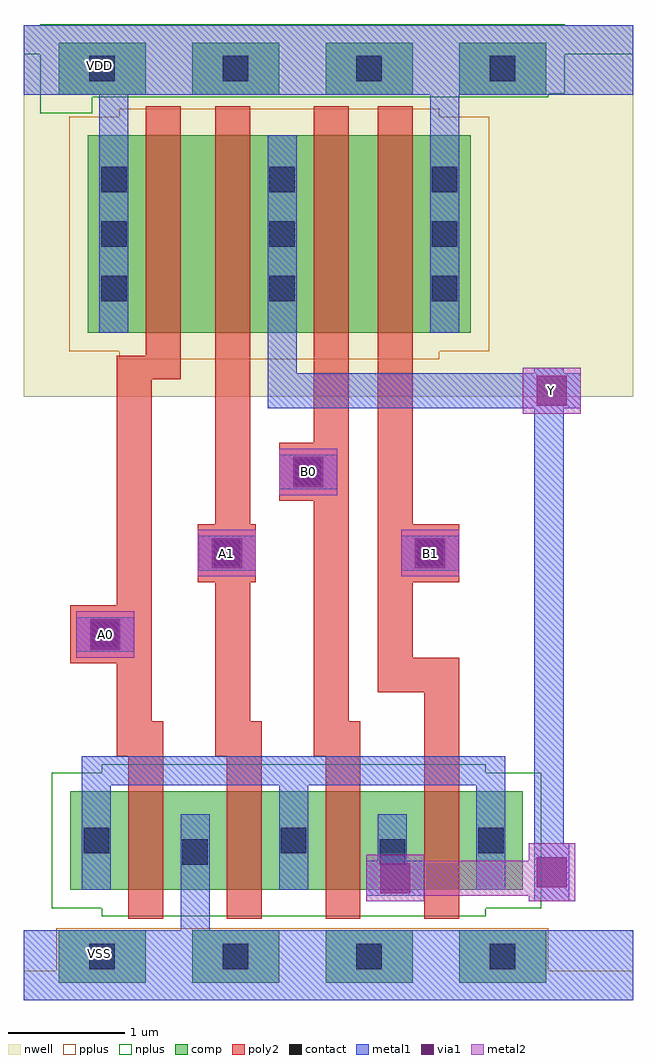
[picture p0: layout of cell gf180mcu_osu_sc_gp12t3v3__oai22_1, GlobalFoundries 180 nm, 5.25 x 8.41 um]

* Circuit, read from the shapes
.subckt gf180mcu_osu_sc_gp12t3v3__oai22_1 A0 A1 B0 B1 VDD VSS Y
XM1 VSS A0 n1 VSS nfet_03v3 w=0.85u l=0.3u
XM2 n1 A1 VSS VSS nfet_03v3 w=0.85u l=0.3u
XM3 Y B0 n1 VSS nfet_03v3 w=0.85u l=0.3u
XM4 n1 B1 Y VSS nfet_03v3 w=0.85u l=0.3u
XM5 n2 A0 VDD VDD pfet_03v3 w=1.7u l=0.3u
XM6 Y A1 n2 VDD pfet_03v3 w=1.7u l=0.3u
XM7 n3 B0 Y VDD pfet_03v3 w=1.7u l=0.3u
XM8 VDD B1 n3 VDD pfet_03v3 w=1.7u l=0.3u
.ends

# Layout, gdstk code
import gdstk
lib = gdstk.Library(unit=1e-6, precision=1e-09)
def R(c, l, rs):  # rectangles x0, y0, x1, y1
    for r in rs: c.add(gdstk.rectangle(r[:2], r[2:], *l))
def A(c, l, x, y, w, h, nx, ny, dx, dy):  # array of equal rectangles
    R(c, l, [(x+i*dx, y+j*dy, x+i*dx+w, y+j*dy+h) for i in range(nx) for j in range(ny)])
nwell = (21, 0)
comp = (22, 0)
poly2 = (30, 0)
pplus = (31, 0)
nplus = (32, 0)
contact = (33, 0)
metal1 = (34, 0)
via1 = (35, 0)
metal2 = (36, 0)

gf180mcu_osu_sc_gp12t3v3 = lib.new_cell('gf180mcu_osu_sc_gp12t3v3__oai22_1')
R(gf180mcu_osu_sc_gp12t3v3, nwell, [(0,5.2,5.25,8.4)])
A(gf180mcu_osu_sc_gp12t3v3, comp, 0.3, 0.15, 0.75, 0.45, 4, 2, 1.15, 7.65)
R(gf180mcu_osu_sc_gp12t3v3, comp, [(0.4,0.95,4.3,1.8), (0.55,5.75,3.85,7.45)])
A(gf180mcu_osu_sc_gp12t3v3, poly2, 0.9, 0.7, 0.3, 1.4, 3, 1, 0.85, 0)
A(gf180mcu_osu_sc_gp12t3v3, poly2, 0.8, 2.1, 0.4, 0.3, 3, 1, 0.85, 0)
R(gf180mcu_osu_sc_gp12t3v3, poly2, [(3.45,0.7,3.75,2.65), (0.8,2.4,1.1,2.9), (1.65,2.4,1.95,3.6), (2.5,2.4,2.8,4.3), (3.05,2.65,3.75,2.95), (0.4,2.9,1.1,3.4), (3.05,2.95,3.35,3.6), (0.8,3.4,1.1,5.35), (1.5,3.6,2,4.1), (3.05,3.6,3.75,4.1), (1.65,4.1,1.95,7.7), (3.05,4.1,3.35,7.7), (2.2,4.3,2.8,4.8), (2.5,4.8,2.8,7.7), (0.8,5.35,1.35,5.55), (1.05,5.55,1.35,7.7)])
R(gf180mcu_osu_sc_gp12t3v3, pplus, [(0,0,5.25,0.25), (0.28,0.13,4.52,0.62), (0.82,5.52,3.58,5.59), (0.39,5.59,4.01,7.61), (0.82,7.61,3.58,7.68)])
R(gf180mcu_osu_sc_gp12t3v3, nplus, [(0.67,0.72,3.98,0.79), (0.24,0.79,4.46,1.96), (0.67,1.96,3.98,2.03), (0.14,7.64,0.59,7.78), (0.14,7.78,4.52,7.81), (0.14,7.81,4.66,8.15), (0,8.15,5.25,8.4), (0,8.15,5.25,8.4), (0.14,8.4,4.66,8.41)])
A(gf180mcu_osu_sc_gp12t3v3, contact, 0.565, 0.265, 0.22, 0.22, 4, 2, 1.15, 7.65)
A(gf180mcu_osu_sc_gp12t3v3, contact, 0.515, 1.265, 0.22, 0.22, 3, 1, 1.7, 0)
A(gf180mcu_osu_sc_gp12t3v3, contact, 0.665, 6.02, 0.22, 0.22, 1, 3, 0, 0.47)
A(gf180mcu_osu_sc_gp12t3v3, contact, 2.115, 6.02, 0.22, 0.22, 1, 3, 0, 0.47)
A(gf180mcu_osu_sc_gp12t3v3, contact, 3.515, 6.02, 0.22, 0.22, 1, 3, 0, 0.47)
R(gf180mcu_osu_sc_gp12t3v3, contact, [(1.365,1.165,1.585,1.385), (3.065,1.165,3.285,1.385), (0.59,3.04,0.81,3.26), (1.64,3.74,1.86,3.96), (3.39,3.74,3.61,3.96), (2.34,4.44,2.56,4.66)])
A(gf180mcu_osu_sc_gp12t3v3, metal1, 0.5, 0.95, 0.25, 0.9, 3, 1, 1.7, 0)
R(gf180mcu_osu_sc_gp12t3v3, metal1, [(0,0,5.25,0.6), (1.35,0.6,1.6,1.6), (4.4,0.85,4.7,1.35), (2.95,0.9,3.45,1.2), (3.05,1.2,3.3,1.6), (4.4,1.35,4.65,5.1), (0.5,1.85,4.15,2.1), (0.45,3,0.95,3.3), (1.5,3.7,2,4), (3.25,3.7,3.75,4), (2.2,4.4,2.7,4.7), (2.1,5.1,4.8,5.4), (2.1,5.4,2.35,7.45), (4.4,5.4,4.65,5.45), (0.65,5.75,0.9,7.8), (3.5,5.75,3.75,7.8), (0,7.8,5.25,8.4)])
R(gf180mcu_osu_sc_gp12t3v3, via1, [(3.07,0.92,3.33,1.18), (4.42,0.97,4.68,1.23), (0.57,3.02,0.83,3.28), (1.62,3.72,1.88,3.98), (3.37,3.72,3.63,3.98), (2.32,4.42,2.58,4.68), (4.42,5.12,4.68,5.38)])
R(gf180mcu_osu_sc_gp12t3v3, metal2, [(2.95,0.85,3.45,0.9), (4.35,0.85,4.75,0.9), (2.95,0.9,4.75,1.2), (2.95,1.2,3.45,1.25), (4.35,1.2,4.75,1.35), (0.45,2.95,0.95,3.35), (1.5,3.65,2,4.05), (3.25,3.65,3.75,4.05), (2.2,4.35,2.7,4.75), (4.3,5.05,4.8,5.45)])
gf180mcu_osu_sc_gp12t3v3.add(gdstk.Label('A0', (0.7,3.15), layer=36, texttype=10))
gf180mcu_osu_sc_gp12t3v3.add(gdstk.Label('A1', (1.75,3.85), layer=36, texttype=10))
gf180mcu_osu_sc_gp12t3v3.add(gdstk.Label('B0', (2.45,4.55), layer=36, texttype=10))
gf180mcu_osu_sc_gp12t3v3.add(gdstk.Label('B1', (3.5,3.85), layer=36, texttype=10))
gf180mcu_osu_sc_gp12t3v3.add(gdstk.Label('Y', (4.55,5.25), layer=36, texttype=10))
gf180mcu_osu_sc_gp12t3v3.add(gdstk.Label('VDD', (0.65,8.05), layer=34, texttype=10))
gf180mcu_osu_sc_gp12t3v3.add(gdstk.Label('VSS', (0.65,0.4), layer=34, texttype=10))

lib.write_gds('gf180mcu_osu_sc_gp12t3v3__oai22_1.gds')
